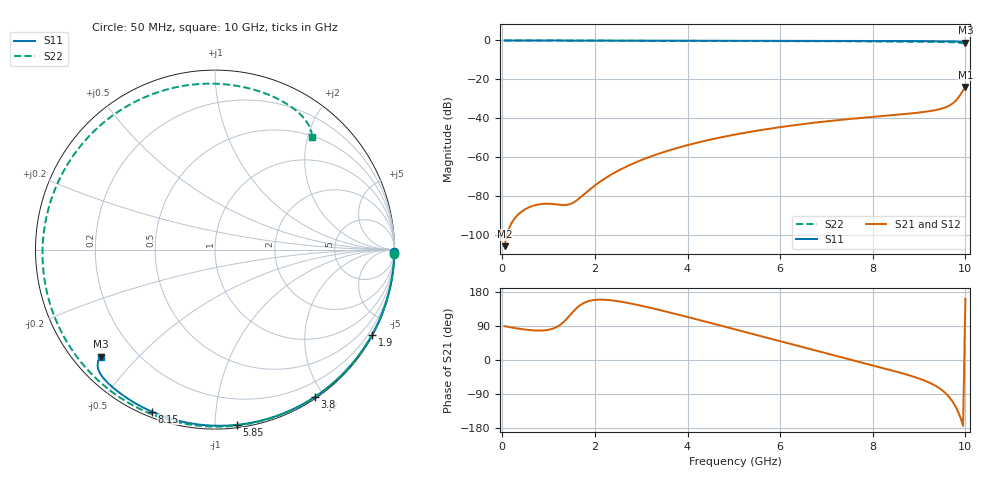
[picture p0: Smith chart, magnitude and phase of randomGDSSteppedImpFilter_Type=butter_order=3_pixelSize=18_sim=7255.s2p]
! freq	dB(S11)	phase(S11)	dB(S12)	phase(S12)
!  dB(S21)	phase(S21)	dB(S22)	phase(S22)
!S-par simulation data
#  GHz  S  DB  R 50
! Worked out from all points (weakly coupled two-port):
!   200 points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, 50 MHz to 10 GHz, reference 50 ohm
!   highest |S21| = -23.90 dB at 10 GHz (marker M1); lowest = -105.7 dB at 50 MHz (marker M2)
!   lowest |S11| = -1.2 dB at 10 GHz (marker M3), VSWR 14.36, Z = 4.03 - j19.7 ohm
!   |S11| at or under -10 dB: nowhere
!   |S22| runs from -1.6 to 0.0 dB; largest |S21 - S12| = 0
!   S11 on the Smith chart (normalised r, x): 50 MHz: open; 1.9 GHz: 0.03, -3.93; 3.8 GHz: 0.02, -1.89; 5.85 GHz: 0.02, -1.13; 8.15 GHz: 0.02, -0.68; 10 GHz: 0.08, -0.39
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0.05  -0.00 -0.8  -105.67 89.1  -105.67 89.1  -0.00 -1.4
0.85  -0.02 -12.9  -84.02 77.8  -84.02 77.8  -0.03 -23.9
1.7  -0.03 -25.6  -80.38 146.1  -80.38 146.1  -0.06 -47.4
1.75  -0.03 -26.3  -79.37 149.7  -79.37 149.7  -0.06 -48.8
1.9  -0.04 -28.6  -76.37 156.5  -76.37 156.5  -0.07 -52.8
2.2  -0.04 -33.0  -71.15 159.0  -71.15 159.0  -0.08 -60.9
2.55  -0.05 -38.0  -66.32 154.1  -66.32 154.1  -0.09 -70.2
3.4  -0.07 -50.2  -57.99 131.9  -57.99 131.9  -0.12 -92.5
3.8  -0.08 -55.7  -55.07 119.7  -55.07 119.7  -0.14 -102.8
4.4  -0.09 -63.9  -51.43 100.9  -51.43 100.9  -0.17 -118.3
5.05  -0.11 -72.6  -48.24 80.1  -48.24 80.1  -0.21 -135.2
5.85  -0.14 -83.0  -45.05 54.5  -45.05 54.5  -0.27 -156.7
6.7  -0.18 -93.7  -42.36 27.2  -42.36 27.2  -0.35 178.8
7.45  -0.22 -102.9  -40.45 3.2  -40.45 3.2  -0.44 155.0
8.15  -0.27 -111.3  -38.95 -19.0  -38.95 -19.0  -0.53 130.0
8.35  -0.29 -113.7  -38.54 -25.5  -38.54 -25.5  -0.56 122.4
9  -0.35 -121.6  -37.03 -48.9  -37.03 -48.9  -0.66 95.6
9.3  -0.38 -125.4  -36.02 -64.4  -36.02 -64.4  -0.72 82.3
9.55  -0.42 -128.9  -34.54 -85.2  -34.54 -85.2  -0.79 70.7
9.7  -0.47 -131.3  -32.77 -105.7  -32.77 -105.7  -0.87 63.3
9.8  -0.54 -133.2  -30.73 -125.7  -30.73 -125.7  -0.99 58.1
10  -1.21 -136.8  -23.90 161.3  -23.90 161.3  -1.64 49.3
